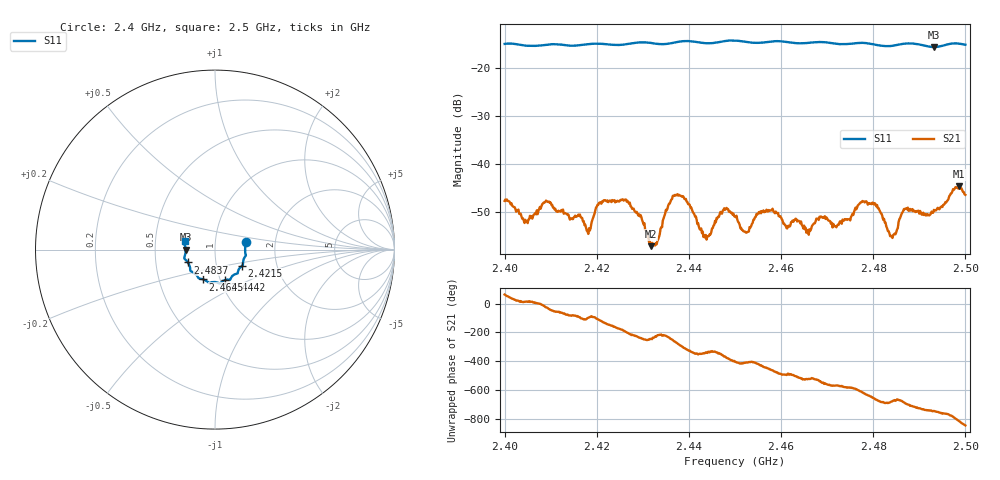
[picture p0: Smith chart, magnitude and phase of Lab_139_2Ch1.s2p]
# Hz S RI R 50
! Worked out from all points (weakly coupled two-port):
!   601 points, 2.4 GHz to 2.5 GHz, reference 50 ohm
!   highest |S21| = -44.57 dB at 2.4987 GHz (marker M1); lowest = -57.0 dB at 2.4318 GHz (marker M2)
!   lowest |S11| = -15.7 dB at 2.4932 GHz (marker M3), VSWR 1.39, Z = 36 - j0.0599 ohm
!   |S11| at or under -10 dB: start of sweep to end of sweep
!   S12 and S22 are empty: the file has one direction only
!   S11 on the Smith chart (normalised r, x): 2.4 GHz: 1.41, +0.12; 2.4215 GHz: 1.33, -0.25; 2.4442 GHz: 1.05, -0.37; 2.4645 GHz: 0.83, -0.29; 2.4837 GHz: 0.73, -0.11; 2.5 GHz: 0.71, +0.07
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2.4e9  0.1713 0.0402  0.00192 0.0037  0 0  0 0
2.4045e9  0.1684 0.0146  0.0026 0.000539  0 0  0 0
2.409167e9  0.1703 -0.026  0.00365 -0.00194  0 0  0 0
2.416667e9  0.1569 -0.0698  -0.000637 -0.00271  0 0  0 0
2.418167e9  0.1555 -0.0799  -0.000285 -0.00187  0 0  0 0
2.4215e9  0.151 -0.0897  -0.00282 -0.00314  0 0  0 0
2.426667e9  0.1291 -0.119  -0.00384 0.00164  0 0  0 0
2.431833e9  0.1187 -0.1351  -0.000584 0.00129  0 0  0 0
2.433333e9  0.1083 -0.1384  -0.0013 0.00104  0 0  0 0
2.4375e9  0.0873 -0.1623  0.000577 0.00485  0 0  0 0
2.444167e9  0.0564 -0.1694  0.00163 0.000764  0 0  0 0
2.45e9  0.025 -0.189  0.00207 -0.00204  0 0  0 0
2.452333e9  0.0154 -0.1842  0.00124 -0.00152  0 0  0 0
2.4645e9  -0.0658 -0.1661  -0.0022 -0.000811  0 0  0 0
2.466667e9  -0.0827 -0.162  -0.0021 -0.000863  0 0  0 0
2.478e9  -0.138 -0.1162  -0.000525 0.00406  0 0  0 0
2.483333e9  -0.149 -0.075  0.00175 0.00101  0 0  0 0
2.483667e9  -0.1509 -0.0717  0.00149 0.00101  0 0  0 0
2.487e9  -0.1704 -0.0508  0.00313 0.0015  0 0  0 0
2.493167e9  -0.1635 -0.000811  0.00303 -0.00147  0 0  0 0
2.498667e9  -0.1717 0.0434  -0.000785 -0.00585  0 0  0 0
2.5e9  -0.165 0.0505  -0.00288 -0.00384  0 0  0 0
